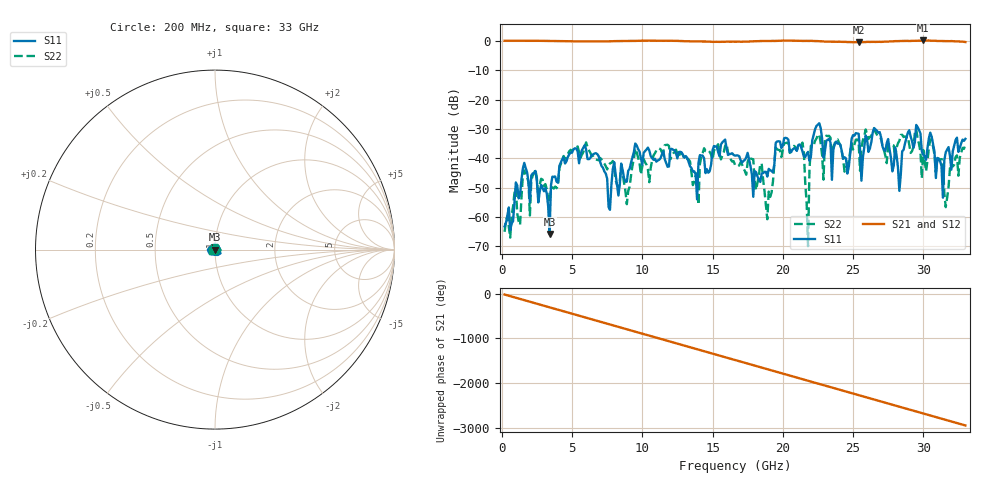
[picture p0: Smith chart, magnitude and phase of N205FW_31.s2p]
# GHZ S RI R 50
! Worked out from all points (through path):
!   329 points, 200 MHz to 33 GHz, reference 50 ohm
!   highest |S21| = 0.09 dB at 30 GHz (marker M1); lowest = -0.5 dB at 25.4 GHz (marker M2)
!   group delay of S21, straight-line fit = 248 ps
!   lowest |S11| = -65.8 dB at 3.4 GHz (marker M3), VSWR 1.00, Z = 50 - j0.0484 ohm
!   |S11| at or under -10 dB: start of sweep to end of sweep
!   |S22| runs from -69.9 to -30.1 dB; largest |S21 - S12| = 0.0022
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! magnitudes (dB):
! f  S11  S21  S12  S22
! 200 MHz  -63.2  0.0  0.0  -65.0
! 1.6 GHz  -41.5  0.0  0.0  -44.1
! 3.4 GHz  -65.8  -0.1  -0.1  -55.1
! 3.6 GHz  -46.3  -0.1  -0.1  -49.9
! 5.7 GHz  -37.3  -0.2  -0.2  -38.8
! 7.7 GHz  -57.6  -0.2  -0.2  -41.7
! 8.9 GHz  -47.9  -0.1  -0.1  -55.6
! 11.2 GHz  -40.5  0.0  0.0  -36.7
! 14 GHz  -41.5  -0.2  -0.2  -55.7
! 14.4 GHz  -40.0  -0.3  -0.3  -36.6
! 16.6 GHz  -39.1  -0.3  -0.3  -42.2
! 18.5 GHz  -45.2  -0.1  -0.1  -41.8
! 18.9 GHz  -46.2  -0.1  -0.1  -60.7
! 19.5 GHz  -34.7  -0.1  -0.1  -36.3
! 21.4 GHz  -37.6  -0.1  -0.1  -34.7
! 21.8 GHz  -37.8  -0.1  -0.1  -69.9
! 22.1 GHz  -33.9  -0.1  -0.1  -36.0
! 25.4 GHz  -31.7  -0.5  -0.5  -34.4
! 27.6 GHz  -36.9  -0.2  -0.2  -35.3
! 30 GHz  -38.8  0.1  0.1  -37.2
! 31.6 GHz  -37.9  -0.1  -0.1  -56.6
! 33 GHz  -33.4  -0.4  -0.4  -35.3
